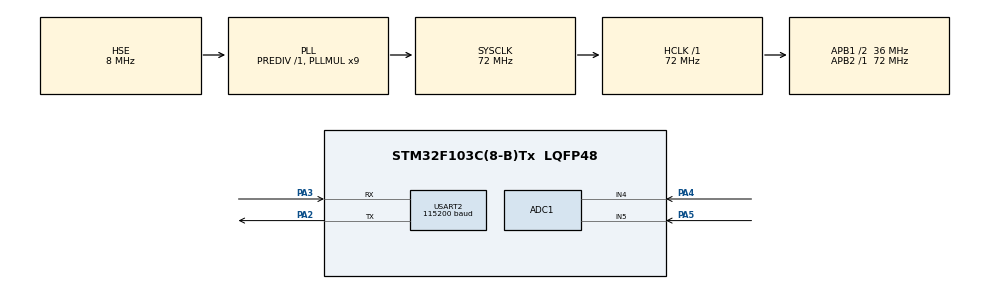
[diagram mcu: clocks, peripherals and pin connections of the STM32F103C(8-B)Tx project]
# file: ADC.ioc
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ADC1.Channel-0\#ChannelRegularConversion=ADC_CHANNEL_5
ADC1.Channel-1\#ChannelRegularConversion=ADC_CHANNEL_4
ADC1.Channel-2\#ChannelRegularConversion=ADC_CHANNEL_TEMPSENSOR
ADC1.Channel-3\#ChannelRegularConversion=ADC_CHANNEL_VREFINT
ADC1.ContinuousConvMode=ENABLE
ADC1.NbrOfConversion=4
ADC1.NbrOfConversionFlag=1
ADC1.Rank-0\#ChannelRegularConversion=1
ADC1.Rank-1\#ChannelRegularConversion=2
ADC1.Rank-2\#ChannelRegularConversion=3
ADC1.Rank-3\#ChannelRegularConversion=4
ADC1.SamplingTime-0\#ChannelRegularConversion=ADC_SAMPLETIME_28CYCLES_5
ADC1.SamplingTime-1\#ChannelRegularConversion=ADC_SAMPLETIME_28CYCLES_5
ADC1.SamplingTime-2\#ChannelRegularConversion=ADC_SAMPLETIME_239CYCLES_5
ADC1.SamplingTime-3\#ChannelRegularConversion=ADC_SAMPLETIME_239CYCLES_5
ADC1.master=1
Dma.ADC1.0.Direction=DMA_PERIPH_TO_MEMORY
Dma.ADC1.0.Instance=DMA1_Channel1
Dma.ADC1.0.MemDataAlignment=DMA_MDATAALIGN_HALFWORD
Dma.ADC1.0.MemInc=DMA_MINC_ENABLE
Dma.ADC1.0.Mode=DMA_CIRCULAR
Dma.ADC1.0.PeriphDataAlignment=DMA_PDATAALIGN_HALFWORD
Dma.ADC1.0.PeriphInc=DMA_PINC_DISABLE
Dma.ADC1.0.Priority=DMA_PRIORITY_MEDIUM
Dma.Request0=ADC1
Mcu.Family=STM32F1
Mcu.Name=STM32F103C(8-B)Tx
Mcu.Package=LQFP48
NVIC.DMA1_Channel1_IRQn=true\:0\:0\:false\:false\:true\:false\:true\:true
NVIC.PriorityGroup=NVIC_PRIORITYGROUP_4
NVIC.USART2_IRQn=true\:0\:0\:false\:false\:true\:true\:true\:true
PA13.Mode=Serial_Wire
PA13.Signal=SYS_JTMS-SWDIO
PA14.Mode=Serial_Wire
PA14.Signal=SYS_JTCK-SWCLK
PA2.Mode=Asynchronous
PA2.Signal=USART2_TX
PA3.Mode=Asynchronous
PA3.Signal=USART2_RX
PA4.Signal=ADCx_IN4
PA5.Signal=ADCx_IN5
PD0-OSC_IN.Mode=HSE-External-Oscillator
PD0-OSC_IN.Signal=RCC_OSC_IN
PD1-OSC_OUT.Mode=HSE-External-Oscillator
PD1-OSC_OUT.Signal=RCC_OSC_OUT
ProjectManager.HeapSize=0x200
ProjectManager.StackSize=0x400
ProjectManager.TargetToolchain=CMake
RCC.ADCPresc=RCC_ADCPCLK2_DIV6
RCC.AHBFreq_Value=72000000
RCC.APB1CLKDivider=RCC_HCLK_DIV2
RCC.APB1Freq_Value=36000000
RCC.APB1TimFreq_Value=72000000
RCC.APB2Freq_Value=72000000
RCC.APB2TimFreq_Value=72000000
RCC.HCLKFreq_Value=72000000
RCC.PLLMUL=RCC_PLL_MUL9
RCC.PLLSourceVirtual=RCC_PLLSOURCE_HSE
RCC.SYSCLKFreq_VALUE=72000000
RCC.SYSCLKSource=RCC_SYSCLKSOURCE_PLLCLK
RCC.USBFreq_Value=72000000
SH.ADCx_IN4.0=ADC1_IN4,IN4
SH.ADCx_IN5.0=ADC1_IN5,IN5
USART2.BaudRate=115200
USART2.VirtualMode=VM_ASYNC
VP_ADC1_TempSens_Input.Mode=IN-TempSens
VP_ADC1_Vref_Input.Mode=IN-Vrefint
board=custom

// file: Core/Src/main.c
/* USER CODE BEGIN Header */
/**
  ******************************************************************************
  * @file           : main.c
  * @brief          : Main program body
  ******************************************************************************
  * @attention
  *
  * Copyright (c) 2026 STMicroelectronics.
  * All rights reserved.
  *
  * This software is licensed under terms that can be found in the LICENSE file
  * in the root directory of this software component.
  * If no LICENSE file comes with this software, it is provided AS-IS.
  *
  ******************************************************************************
  */
/* USER CODE END Header */
#include "main.h"
#include "adc.h"
#include "dma.h"
#include "usart.h"
#include "gpio.h"

/* USER CODE BEGIN Includes */
#include <stdint.h>
#include <stdio.h>
#include <string.h>
/* USER CODE END Includes */

/* USER CODE BEGIN PV */
  uint16_t values[4] = {0};
  char message[50] = "";

/* USER CODE END PV */

void SystemClock_Config(void);

int main(void)
{

  /* MCU Configuration--------------------------------------------------------*/

  /* Reset of all peripherals, Initializes the Flash interface and the Systick. */
  HAL_Init();

  /* Configure the system clock */
  SystemClock_Config();

  /* Initialize all configured peripherals */
  MX_GPIO_Init();
  MX_DMA_Init();
  MX_ADC1_Init();
  MX_USART2_UART_Init();
  /* USER CODE BEGIN 2 */
  float voltage = 0.0;
  float verf;
  float temperture;

  HAL_ADCEx_Calibration_Start(&hadc1);
  HAL_ADC_Start_DMA(&hadc1, (uint32_t*)values, 4);
  /* USER CODE END 2 */

  /* Infinite loop */
  /* USER CODE BEGIN WHILE */
  while (1)
  {

    HAL_Delay(500);
    temperture = (1.43-(values[2]*3.3/4096))/0.0043 + 25;

    verf = 1.2*4095.0/(float)values[3];
    voltage = (values[0]/4095.0)*verf;
    sprintf(message, "%d %d 片内温度：%.2f  %.2f %.2f ",values[0],values[1],temperture,verf,voltage);
    HAL_UART_Transmit(&huart2,(uint8_t*)message,strlen(message),HAL_MAX_DELAY);

    // value = HAL_ADC_GetValue(&hadc1);
    // voltage = (value/4095.0)*3.3;

    // sprintf(message, "ADC: %d  %.2fV",value,voltage);
    // HAL_UART_Transmit(&huart2, (uint8_t*)message, strlen(message), HAL_MAX_DELAY);
    // HAL_Delay(500);
    /* USER CODE END WHILE */

  }
}

void SystemClock_Config(void)
{
  RCC_OscInitTypeDef RCC_OscInitStruct = {0};
  RCC_ClkInitTypeDef RCC_ClkInitStruct = {0};
  RCC_PeriphCLKInitTypeDef PeriphClkInit = {0};

  /** Initializes the RCC Oscillators according to the specified parameters
  * in the RCC_OscInitTypeDef structure.
  */
  RCC_OscInitStruct.OscillatorType = RCC_OSCILLATORTYPE_HSE;
  RCC_OscInitStruct.HSEState = RCC_HSE_ON;
  RCC_OscInitStruct.HSEPredivValue = RCC_HSE_PREDIV_DIV1;
  RCC_OscInitStruct.HSIState = RCC_HSI_ON;
  RCC_OscInitStruct.PLL.PLLState = RCC_PLL_ON;
  RCC_OscInitStruct.PLL.PLLSource = RCC_PLLSOURCE_HSE;
  RCC_OscInitStruct.PLL.PLLMUL = RCC_PLL_MUL9;
  if (HAL_RCC_OscConfig(&RCC_OscInitStruct) != HAL_OK)
  {
    Error_Handler();
  }

  /** Initializes the CPU, AHB and APB buses clocks
  */
  RCC_ClkInitStruct.ClockType = RCC_CLOCKTYPE_HCLK|RCC_CLOCKTYPE_SYSCLK
                              |RCC_CLOCKTYPE_PCLK1|RCC_CLOCKTYPE_PCLK2;
  RCC_ClkInitStruct.SYSCLKSource = RCC_SYSCLKSOURCE_PLLCLK;
  RCC_ClkInitStruct.AHBCLKDivider = RCC_SYSCLK_DIV1;
  RCC_ClkInitStruct.APB1CLKDivider = RCC_HCLK_DIV2;
  RCC_ClkInitStruct.APB2CLKDivider = RCC_HCLK_DIV1;

  if (HAL_RCC_ClockConfig(&RCC_ClkInitStruct, FLASH_LATENCY_2) != HAL_OK)
  {
    Error_Handler();
  }
  PeriphClkInit.PeriphClockSelection = RCC_PERIPHCLK_ADC;
  PeriphClkInit.AdcClockSelection = RCC_ADCPCLK2_DIV6;
  if (HAL_RCCEx_PeriphCLKConfig(&PeriphClkInit) != HAL_OK)
  {
    Error_Handler();
  }
}

void Error_Handler(void)
{
  __disable_irq();
  while (1)
  {
  }
}
